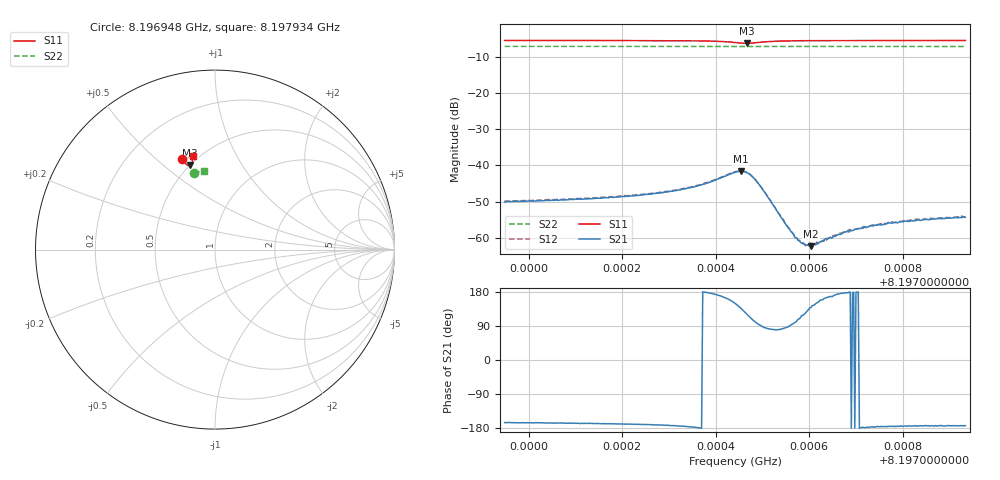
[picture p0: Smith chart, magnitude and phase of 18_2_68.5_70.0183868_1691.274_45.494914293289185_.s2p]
#  HZ  S  RI  R  50.00
! Rohde & Schwarz Vector Network Analyzer
! Rohde-Schwarz,ZNB20-2Port,1311601062101988,3.16
! Created: UTC 3/20/2024, 4:49:18 PM
! freq[Hz]  re:S11  im:S11  re:S21  im:S21  re:S12  im:S12  re:S22  im:S22
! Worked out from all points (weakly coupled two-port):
!   401 points, 8.196948 GHz to 8.197934 GHz, reference 50 ohm
!   highest |S21| = -41.60 dB at 8.197454 GHz (marker M1); lowest = -62.3 dB at 8.197604 GHz (marker M2)
!   lowest |S11| = -6.2 dB at 8.197466 GHz (marker M3), VSWR 2.92, Z = 25 + j30.9 ohm
!   |S11| at or under -10 dB: nowhere
!   |S22| runs from -7.1 to -7.0 dB; largest |S21 - S12| = 0.00045
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8.1969485e9  -0.183 0.5039  -0.00303 -0.000801  -0.00313 -0.000702  -0.1175 0.4284
8.1971135e9  -0.1701 0.5078  -0.00335 -0.000775  -0.00345 -0.000628  -0.1084 0.4304
8.1972786e9  -0.1545 0.5109  -0.0041 -0.000619  -0.00421 -0.000466  -0.0991 0.4323
8.1973574e9  -0.1427 0.5104  -0.00513 -0.000208  -0.00526 1.95e-05  -0.0947 0.433
8.1973895e9  -0.1357 0.5076  -0.00593 0.000403  -0.00603 0.000713  -0.0928 0.4332
8.1974412e9  -0.1251 0.4865  -0.00692 0.00406  -0.00685 0.00448  -0.0898 0.4332
8.1974535e9  -0.1292 0.4766  -0.00606 0.00569  -0.00589 0.00607  -0.0893 0.4329
8.1974658e9  -0.1393 0.4697  -0.0042 0.00678  -0.00394 0.00708  -0.089 0.433
8.1974782e9  -0.152 0.4699  -0.00206 0.0067  -0.00178 0.00685  -0.0886 0.433
8.1974929e9  -0.1623 0.4777  -0.000302 0.00544  -4.8e-05 0.00549  -0.0879 0.4336
8.1975447e9  -0.1626 0.5013  0.000206 0.00171  0.00028 0.00176  -0.085 0.4346
8.1975718e9  -0.1585 0.5065  -0.000187 0.000987  -0.00018 0.000984  -0.0835 0.4349
8.197589e9  -0.1559 0.5087  -0.00042 0.000699  -0.000433 0.000701  -0.0827 0.4351
8.1976038e9  -0.154 0.51  -0.000574 0.000506  -0.000626 0.000565  -0.0818 0.4354
8.1976063e9  -0.1537 0.5104  -0.000647 0.000475  -0.000607 0.000522  -0.0815 0.4355
8.1976186e9  -0.1521 0.5112  -0.000728 0.000385  -0.000752 0.000408  -0.081 0.4355
8.1976309e9  -0.1505 0.5121  -0.000866 0.000289  -0.000836 0.000321  -0.0803 0.4356
8.1976826e9  -0.1449 0.5147  -0.00123 6.01e-05  -0.00126 6.82e-05  -0.0774 0.4361
8.1977294e9  -0.1404 0.5163  -0.00145 -6.82e-05  -0.00145 -5.65e-06  -0.0746 0.4365
8.1977713e9  -0.1366 0.5176  -0.0016 -0.000124  -0.00165 -6.61e-05  -0.0723 0.4369
8.1978329e9  -0.1314 0.5189  -0.00176 -0.000175  -0.00178 -0.000125  -0.0687 0.4372
8.1979339e9  -0.1236 0.521  -0.0019 -0.000226  -0.00196 -0.000125  -0.0631 0.4381
